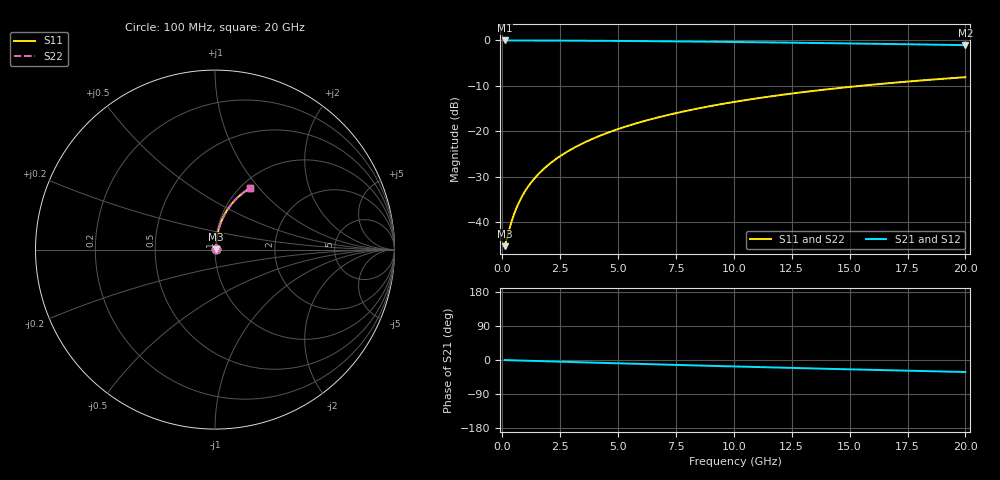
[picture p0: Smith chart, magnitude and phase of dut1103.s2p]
! Touchstone file exported from HFSS 2024.1.0
!  File:  C:/UserFiles/LocalFiles/RDL_TSV_Batchsim/temp_RDL_bottom_1103_1780054082.aedt
!  Generated:  07:30:36 PM May 29, 2026
!  Design:  RDL_bottom
!  Project:  temp_RDL_bottom_1103_1780054082
!  Setup:  Setup1
!  Solution:  Sweep
! Variables:
!  dtsv = 10.80580581um
!  hbump = 3um
!  htsv = 96.75um
!  ldown = 349.18um
!  lrdl = 100um
!  p = 40
!  p1 = 52.04um
!  rhole = 1um
!  t = 450um
!  tdown = 2.02um
!  trdl = 3.915915916um
!  wdown = 12.84um
!  wrdl = 20um
# GHz S MA R 50.000000
! Terminal data exported
! Port[1] = RDL1_T1
! Port[2] = RDL1_T2
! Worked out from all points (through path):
!   200 points, 100 MHz to 20 GHz, reference 50 ohm
!   highest |S21| = -0.04 dB at 100 MHz (marker M1); lowest = -1.1 dB at 20 GHz (marker M2)
!   group delay of S21, straight-line fit = 4.4 ps
!   lowest |S11| = -45.3 dB at 100 MHz (marker M3), VSWR 1.01, Z = 50.5 + j0.222 ohm
!   |S11| at or under -10 dB: start of sweep to 15.5 GHz
!   |S22| runs from -45.3 to -8.1 dB; largest |S21 - S12| = 3.4e-15
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0.1  0.005462 23.7  0.995 -0.2  0.995 -0.2  0.005462 23.7
! Gamma 0 0 0 0
! Port Impedance 50 0 50 0
0.4  0.01016 59.2  0.9948 -0.7  0.9948 -0.7  0.01016 59.2
0.5  0.01211 64.0  0.9947 -0.9  0.9947 -0.9  0.01211 64.0
0.6  0.01411 67.4  0.9946 -1.1  0.9946 -1.1  0.01411 67.4
0.7  0.01613 69.9  0.9945 -1.3  0.9945 -1.3  0.01613 69.9
0.9  0.02023 73.2  0.9942 -1.6  0.9942 -1.6  0.02023 73.2
1.2  0.0264 76.2  0.9937 -2.2  0.9937 -2.2  0.0264 76.2
1.4  0.03053 77.4  0.9934 -2.5  0.9934 -2.5  0.03053 77.4
1.7  0.03672 78.7  0.9929 -3.0  0.9929 -3.0  0.03672 78.7
2.2  0.04709 79.9  0.992 -3.9  0.992 -3.9  0.04709 79.9
2.8  0.05958 80.6  0.9906 -5.0  0.9906 -5.0  0.05958 80.6
3.5  0.07422 80.7  0.9887 -6.2  0.9887 -6.2  0.07422 80.7
4.2  0.08891 80.5  0.9865 -7.4  0.9865 -7.4  0.08891 80.5
5  0.1057 80.0  0.9836 -8.8  0.9836 -8.8  0.1057 80.0
5.9  0.1247 79.3  0.9798 -10.3  0.9798 -10.3  0.1247 79.3
6.8  0.1436 78.3  0.9756 -11.8  0.9756 -11.8  0.1436 78.3
8.3  0.1749 76.5  0.9678 -14.3  0.9678 -14.3  0.1749 76.5
10.1  0.2119 74.1  0.9571 -17.2  0.9571 -17.2  0.2119 74.1
11.7  0.244 71.9  0.9467 -19.7  0.9467 -19.7  0.244 71.9
13.4  0.2771 69.5  0.9348 -22.3  0.9348 -22.3  0.2771 69.5
16.7  0.3377 64.9  0.9101 -27.1  0.9101 -27.1  0.3377 64.9
20  0.393 60.4  0.8838 -31.7  0.8838 -31.7  0.393 60.4
